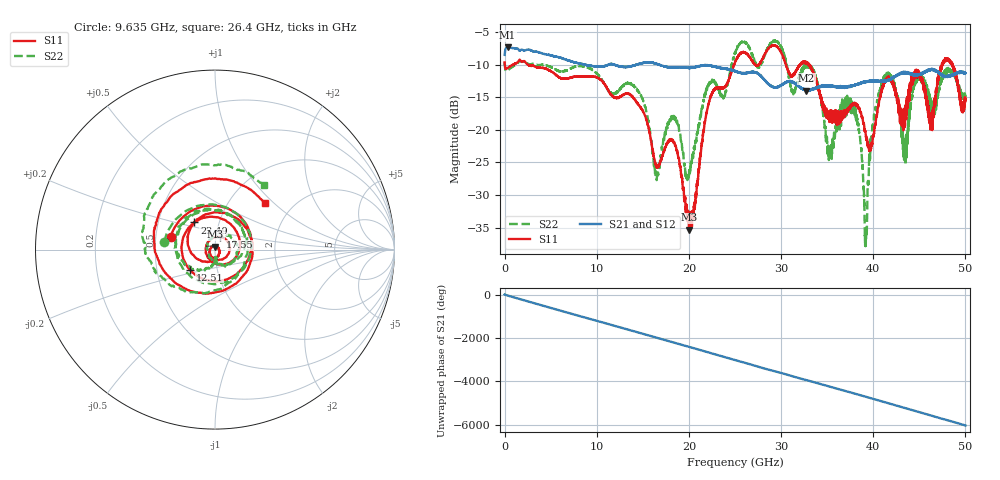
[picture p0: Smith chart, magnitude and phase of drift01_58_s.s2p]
!Created with skrf (http://scikit-rf.org).
# Hz S RI R 50.0
!freq ReS11 ImS11 ReS21 ImS21 ReS12 ImS12 ReS22 ImS22
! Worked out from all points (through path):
!   10001 points, 300 kHz to 50 GHz, reference 50 ohm
!   highest |S21| = -7.33 dB at 325.3 MHz (marker M1); lowest = -13.9 dB at 32.74 GHz (marker M2)
!   group delay of S21, straight-line fit = 335 ps
!   lowest |S11| = -35.3 dB at 20.01 GHz (marker M3), VSWR 1.03, Z = 50.1 + j1.71 ohm
!   |S11| at or under -10 dB: 2.566 GHz to 24.89 GHz (22.33 GHz wide, 163 % of centre); 30.53 GHz to 32.06 GHz (1.526 GHz wide, 4.88 % of centre); 33.08 GHz to 47.44 GHz (14.36 GHz wide, 35.7 % of centre) (the widest 3 of 20)
!   |S22| runs from -37.9 to -6.3 dB; largest |S21 - S12| = 0.01
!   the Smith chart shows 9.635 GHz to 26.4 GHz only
!   S11 on the Smith chart (normalised r, x): 9.635 GHz: 0.60, +0.09; 12.51 GHz: 0.74, -0.17; 17.55 GHz: 1.04, +0.15; 22.49 GHz: 0.76, +0.24; 26.4 GHz: 1.47, +0.87
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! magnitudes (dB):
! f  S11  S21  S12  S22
! 300 kHz  -9.6  -8.5  -8.5  -9.6
! 325.3 MHz  -10.5  -7.3  -7.3  -10.9
! 8.335 GHz  -11.8  -9.8  -9.8  -10.2
! 9.635 GHz  -11.8  -10.2  -10.2  -10.9
! 12.51 GHz  -14.9  -10.2  -10.3  -13.7
! 16.67 GHz  -25.7  -9.9  -9.9  -26.8
! 17.55 GHz  -22.3  -10.3  -10.3  -19.6
! 20.01 GHz  -35.3  -10.5  -10.5  -26.7
! 22.49 GHz  -14.4  -10.2  -10.2  -12.5
! 25 GHz  -9.6  -11.0  -11.0  -8.2
! 26.4 GHz  -8.4  -11.2  -11.2  -6.9
! 32.74 GHz  -9.7  -13.9  -13.9  -9.9
! 33.34 GHz  -10.7  -13.8  -13.7  -10.6
! 35.27 GHz  -18.0  -13.2  -13.2  -23.3
! 38 GHz  -16.0  -13.1  -13.1  -17.7
! 39.17 GHz  -20.5  -12.6  -12.6  -37.6
! 40.11 GHz  -20.1  -12.5  -12.5  -17.8
! 41.67 GHz  -11.8  -12.3  -12.3  -11.6
! 43.43 GHz  -18.6  -11.2  -11.3  -23.6
! 44.85 GHz  -11.1  -11.6  -11.6  -12.1
! 46.23 GHz  -19.5  -10.8  -10.8  -15.3
! 50 GHz  -15.5  -11.3  -11.3  -15.0
